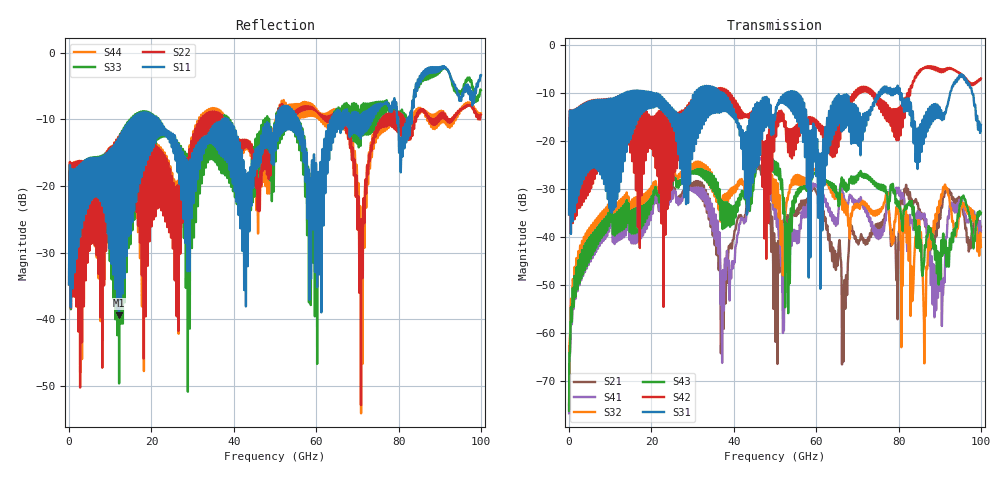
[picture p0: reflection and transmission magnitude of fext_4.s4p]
# Hz S RI R 50
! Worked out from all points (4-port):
!   10000 points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, 10 MHz to 100 GHz, reference 50 ohm
!   strongest paths, dB at 10 MHz, 25.01 GHz, 50.01 GHz, 75.01 GHz, 100 GHz:
!     S31: -35.3, -14.5, -15.3, -11.2, -16.7
!     S42: -35.3, -14.4, -15.0, -11.9, -7.0
!     S43: -76.2, -28.7, -26.8, -29.2, -35.0
!     S32: -75.1, -27.6, -33.6, -34.4, -42.1
!     S41: -76.7, -31.5, -36.3, -39.2, -38.8
!     S21: -75.9, -31.2, -45.6, -38.4, -37.9
!   lowest |S11| = -39.4 dB at 12.13 GHz (marker M1), VSWR 1.02, Z = 50.9 - j0.651 ohm
!   |S11| at or under -10 dB: start of sweep to 15.11 GHz; 21.62 GHz to 37.23 GHz (15.61 GHz wide, 53 % of centre); 38.64 GHz to 50.3 GHz (11.66 GHz wide, 26.2 % of centre)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
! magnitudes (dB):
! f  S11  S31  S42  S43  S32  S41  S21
! 10 MHz  -34.8  -35.3  -35.3  -76.2  -75.1  -76.7  -75.9
! 12.13 GHz  -39.4  -27.6  -18.5  -34.8  -32.6  -36.0  -34.7
! 46.58 GHz  -14.4  -11.7  -21.4  -21.0  -21.6  -23.9  -26.6
! 51.9 GHz  -10.2  -10.6  -14.7  -31.9  -47.9  -57.3  -37.2
! 65.65 GHz  -8.7  -14.5  -16.3  -33.3  -31.3  -31.7  -40.7
! 70.88 GHz  -12.3  -17.2  -9.9  -26.5  -32.9  -31.8  -39.5
! 100 GHz  -3.4  -16.7  -7.0  -35.0  -42.1  -38.8  -37.9
